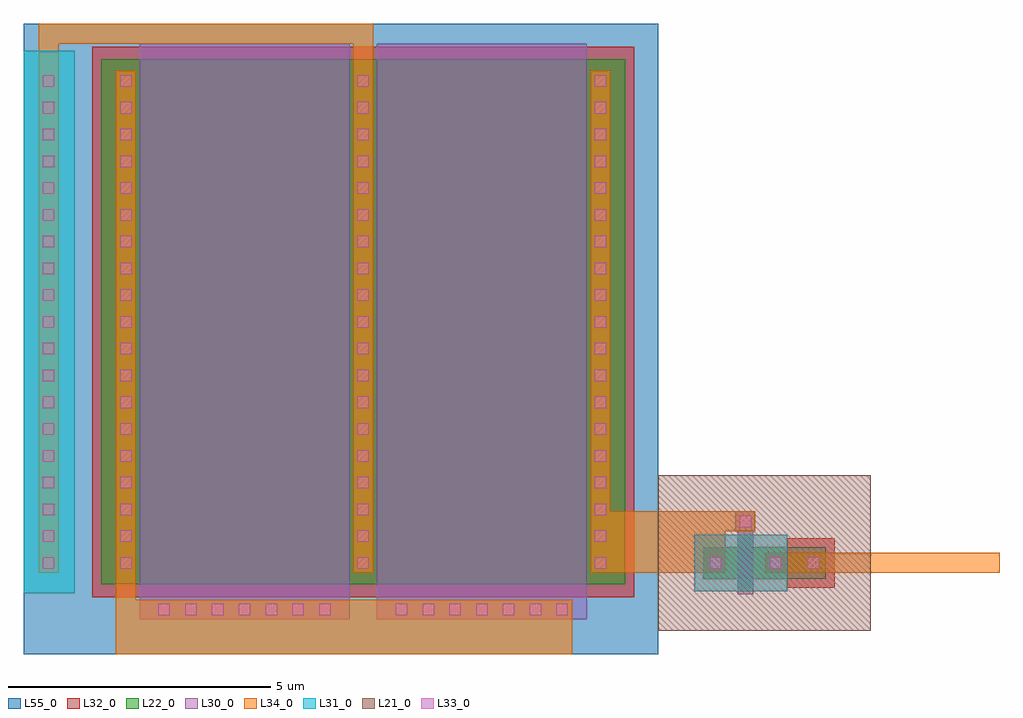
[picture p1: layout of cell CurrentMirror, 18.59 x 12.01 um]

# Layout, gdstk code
import gdstk
lib = gdstk.Library(unit=1e-6, precision=1e-09)
def R(c, l, rs):  # rectangles x0, y0, x1, y1
    for r in rs: c.add(gdstk.rectangle(r[:2], r[2:], *l))
def A(c, l, x, y, w, h, nx, ny, dx, dy):  # array of equal rectangles
    R(c, l, [(x+i*dx, y+j*dy, x+i*dx+w, y+j*dy+h) for i in range(nx) for j in range(ny)])
def P(c, l, *ps):  # polygons
    for p in ps: c.add(gdstk.Polygon(p, *l))
L21_0 = (21, 0)
L22_0 = (22, 0)
L30_0 = (30, 0)
L31_0 = (31, 0)
L32_0 = (32, 0)
L33_0 = (33, 0)
L34_0 = (34, 0)
L55_0 = (55, 0)

pfet_2 = lib.new_cell('pfet$2')
R(pfet_2, L21_0, [(-1.32,-0.99,2.73,1.97)])
R(pfet_2, L22_0, [(-0.46,0,1.87,0.6)])
P(pfet_2, L30_0, [(0.19,-0.3),(0.19,0.9),(0.15,0.9),(0.15,1.28),(0.53,1.28),(0.53,0.9),(0.49,0.9),(0.49,-0.3)])
R(pfet_2, L31_0, [(-0.63,-0.24,1.14,0.84)])
R(pfet_2, L32_0, [(1.14,-0.17,2.04,0.77)])
R(pfet_2, L33_0, [(-0.34,0.19,-0.12,0.41), (0.8,0.19,1.02,0.41), (1.53,0.19,1.75,0.41), (0.23,0.98,0.45,1.2)])
R(pfet_2, L34_0, [(-0.42,0.11,-0.04,0.49), (0.72,0.11,1.1,0.49), (1.45,0.11,1.83,0.49), (0.15,0.9,0.53,1.28)])

currentmirror = lib.new_cell('CurrentMirror')
R(currentmirror, L22_0, [(0.42,1.08,10.4,11.08)])
R(currentmirror, L30_0, [(1.15,0.42,5.15,11.38), (5.67,0.42,9.67,11.38)])
R(currentmirror, L31_0, [(-1.06,0.91,-0.08,11.25)])
R(currentmirror, L32_0, [(0.25,0.84,10.57,11.32)])
A(currentmirror, L33_0, 1.51, 0.49, 0.22, 0.22, 5, 1, 0.51, 0)
A(currentmirror, L33_0, 6.03, 0.49, 0.22, 0.22, 5, 1, 0.51, 0)
A(currentmirror, L33_0, -0.69, 1.38, 0.22, 0.22, 1, 19, 0, 0.51)
A(currentmirror, L33_0, 0.78, 1.38, 0.22, 0.22, 3, 19, 4.52, 0.51)
R(currentmirror, L33_0, [(3.55,0.49,3.77,0.71), (4.06,0.49,4.28,0.71), (4.06,0.49,4.28,0.71), (4.57,0.49,4.79,0.71), (4.57,0.49,4.79,0.71), (8.07,0.49,8.29,0.71), (8.58,0.49,8.8,0.71), (8.58,0.49,8.8,0.71), (9.09,0.49,9.31,0.71), (9.09,0.49,9.31,0.71)])
A(currentmirror, L34_0, 0.7, 1.3, 0.38, 9.56, 3, 1, 4.52, 0)
R(currentmirror, L34_0, [(0.7,-0.25,9.39,0.79), (0.7,-0.25,1.08,1.3), (1.43,0.41,4.87,0.79), (4.87,0.41,5.95,0.79), (5.95,0.41,9.39,0.79), (-0.77,1.3,-0.39,10.86), (9.74,1.3,12.31,2.47), (13.07,1.3,17.53,1.68), (13.45,1.3,13.8,1.68), (12.31,2.09,12.88,2.47), (-0.77,10.86,-0.39,11.76), (5.22,10.86,5.6,11.76), (-0.77,11.38,5.6,11.76)])
R(currentmirror, L55_0, [(-1.06,-0.25,11.03,11.76)])
r = gdstk.Reference(pfet_2, (12.35,1.19)); r.repetition = gdstk.Repetition(1, 1, v1=(0,0), v2=(0,0)); currentmirror.add(r)

lib.write_gds('CurrentMirror.gds')
